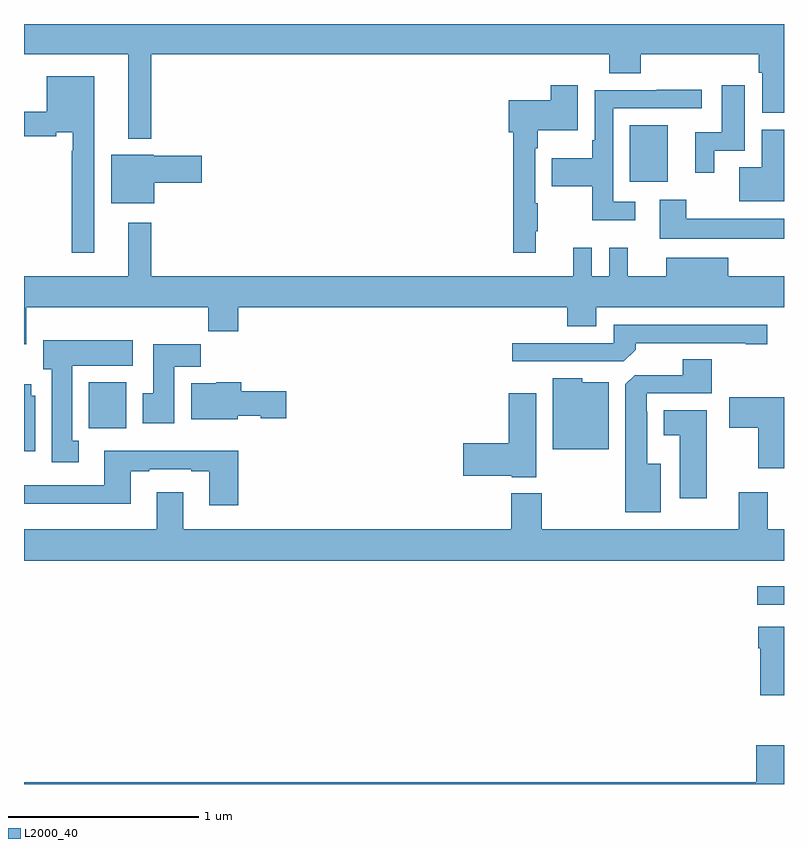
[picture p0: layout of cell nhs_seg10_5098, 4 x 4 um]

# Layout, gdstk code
import gdstk
lib = gdstk.Library(unit=1e-6, precision=1e-09)
def R(c, l, rs):  # rectangles x0, y0, x1, y1
    for r in rs: c.add(gdstk.rectangle(r[:2], r[2:], *l))
def P(c, l, *ps):  # polygons
    for p in ps: c.add(gdstk.Polygon(p, *l))
L2000_40 = (2000, 40)

nhs_seg10_5098 = lib.new_cell('nhs_seg10_5098')
R(nhs_seg10_5098, L2000_40, [(410.859,1273.443,411,1273.54), (407.342,1274.372,407.539,1274.614), (410.189,1275.671,410.389,1275.967)])
P(nhs_seg10_5098, L2000_40, [(407.671,1276.34),(410.081,1276.34),(410.081,1276.241),(410.246,1276.241),(410.246,1276.34),(410.866,1276.34),(410.866,1276.244),(410.886,1276.244),(410.886,1276.032),(411,1276.032),(411,1276.5),(407,1276.5),(407,1276.34),(407.549,1276.34),(407.549,1275.896),(407.671,1275.896)],
  [(407.371,1276.225),(407.12,1276.225),(407.12,1276.039),(407,1276.039),(407,1275.91),(407.171,1275.91),(407.171,1275.93),(407.257,1275.93),(407.257,1275.833),(407.25,1275.833),(407.25,1275.297),(407.371,1275.297)],
  [(410.632,1275.834),(410.794,1275.834),(410.794,1276.177),(410.672,1276.177),(410.672,1275.93),(410.534,1275.93),(410.534,1275.717),(410.632,1275.717)],
  [(409.694,1275.409),(409.705,1275.409),(409.705,1275.557),(409.692,1275.557),(409.692,1275.845),(409.705,1275.845),(409.705,1275.941),(409.915,1275.941),(409.915,1276.177),(409.772,1276.177),(409.772,1276.099),(409.55,1276.099),(409.55,1275.929),(409.576,1275.929),(409.576,1275.297),(409.694,1275.297)],
  [(410.218,1275.564),(410.1,1275.564),(410.1,1276.056),(410.566,1276.056),(410.566,1276.154),(410.329,1276.154),(410.329,1276.152),(410.004,1276.152),(410.004,1275.889),(409.992,1275.889),(409.992,1275.793),(409.777,1275.793),(409.777,1275.646),(409.992,1275.646),(409.992,1275.467),(410.218,1275.467)],
  [(411,1275.943),(410.882,1275.943),(410.882,1275.745),(410.765,1275.745),(410.765,1275.566),(411,1275.566)],
  [(407.686,1275.664),(407.935,1275.664),(407.935,1275.806),(407.682,1275.806),(407.682,1275.811),(407.459,1275.811),(407.459,1275.557),(407.686,1275.557)],
  [(411,1275.475),(410.485,1275.475),(410.485,1275.574),(410.345,1275.574),(410.345,1275.371),(411,1275.371)],
  [(407.011,1275.008),(407.971,1275.008),(407.971,1274.884),(408.128,1274.884),(408.128,1275.008),(409.859,1275.008),(409.859,1274.909),(410.011,1274.909),(410.011,1275.008),(411,1275.008),(411,1275.172),(410.707,1275.172),(410.707,1275.271),(410.381,1275.271),(410.381,1275.172),(410.177,1275.172),(410.177,1275.322),(410.079,1275.322),(410.079,1275.172),(409.989,1275.172),(409.989,1275.322),(409.892,1275.322),(409.892,1275.172),(407.671,1275.172),(407.671,1275.454),(407.549,1275.454),(407.549,1275.172),(407,1275.172),(407,1274.814),(407.011,1274.814)],
  [(410.219,1274.786),(410.219,1274.82),(410.798,1274.82),(410.798,1274.815),(410.911,1274.815),(410.911,1274.916),(410.103,1274.916),(410.103,1274.82),(409.569,1274.82),(409.569,1274.724),(410.157,1274.724)],
  [(407.287,1274.306),(407.254,1274.306),(407.254,1274.702),(407.572,1274.702),(407.572,1274.836),(407.102,1274.836),(407.102,1274.682),(407.147,1274.682),(407.147,1274.193),(407.287,1274.193)],
  [(407.791,1274.696),(407.93,1274.696),(407.93,1274.815),(407.681,1274.815),(407.681,1274.556),(407.624,1274.556),(407.624,1274.4),(407.791,1274.4)],
  [(410.35,1274.185),(410.281,1274.185),(410.281,1274.459),(410.277,1274.459),(410.277,1274.556),(410.621,1274.556),(410.621,1274.735),(410.468,1274.735),(410.468,1274.652),(410.214,1274.652),(410.165,1274.603),(410.165,1273.931),(410.35,1273.931)],
  [(410.077,1274.614),(409.938,1274.614),(409.938,1274.635),(409.784,1274.635),(409.784,1274.261),(410.077,1274.261)],
  [(408.126,1274.438),(408.246,1274.438),(408.246,1274.426),(408.379,1274.426),(408.379,1274.568),(408.143,1274.568),(408.143,1274.614),(408.012,1274.614),(408.012,1274.608),(407.879,1274.608),(407.879,1274.42),(408.126,1274.42)],
  [(407.059,1274.544),(407.038,1274.544),(407.038,1274.605),(407,1274.605),(407,1274.252),(407.059,1274.252)],
  [(409.696,1274.557),(409.55,1274.557),(409.55,1274.294),(409.311,1274.294),(409.311,1274.123),(409.566,1274.123),(409.566,1274.114),(409.696,1274.114)],
  [(411,1274.536),(410.712,1274.536),(410.712,1274.374),(410.864,1274.374),(410.864,1274.163),(411,1274.163)],
  [(410.593,1274.467),(410.366,1274.467),(410.366,1274.336),(410.45,1274.336),(410.45,1274.004),(410.593,1274.004)],
  [(408.128,1274.254),(407.423,1274.254),(407.423,1274.073),(407,1274.073),(407,1273.976),(407.563,1273.976),(407.563,1274.145),(407.659,1274.145),(407.659,1274.157),(407.879,1274.157),(407.879,1274.145),(407.975,1274.145),(407.975,1273.968),(408.128,1273.968)],
  [(411,1273.84),(410.915,1273.84),(410.915,1274.035),(410.762,1274.035),(410.762,1273.84),(409.725,1273.84),(409.725,1274.029),(409.565,1274.029),(409.565,1273.84),(407.839,1273.84),(407.839,1274.035),(407.699,1274.035),(407.699,1273.84),(407,1273.84),(407,1273.676),(411,1273.676)],
  [(411,1273.327),(410.864,1273.327),(410.864,1273.214),(410.876,1273.214),(410.876,1272.968),(411,1272.968)],
  [(411,1272.703),(410.855,1272.703),(410.855,1272.508),(407,1272.508),(407,1272.5),(411,1272.5)])

lib.write_gds('nhs_seg10_5098.gds')
